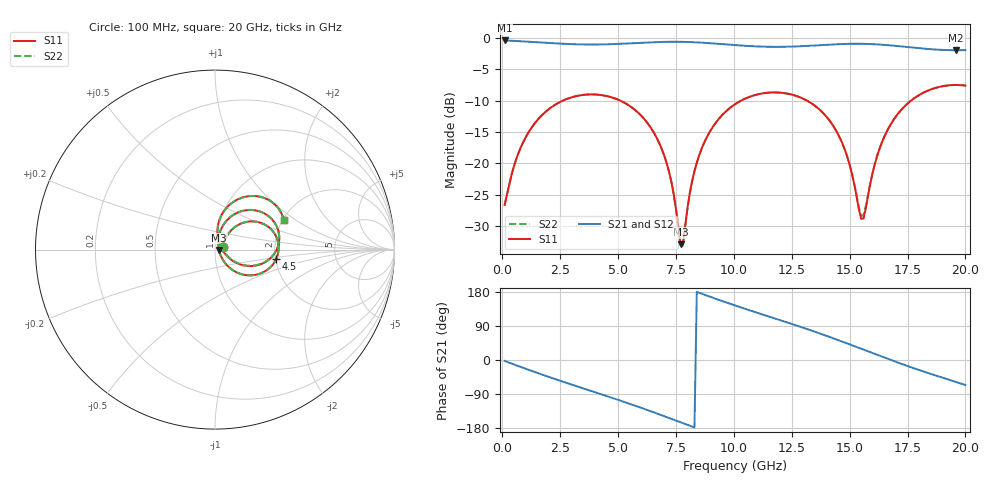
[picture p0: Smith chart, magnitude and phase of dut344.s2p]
! Touchstone file exported from HFSS 2026.1.0
!  File:  C:/ffzhzh/LocalFiles/Ansys_Project_Files/temp_train_TSV_RDL_344_1783035565_53980.aedt
!  Generated:  07:52:20 AM Jul  3, 2026
!  Design:  TSV_RDL
!  Project:  temp_train_TSV_RDL_344_1783035565_53980
! Variables:
!  h_bsmrdl = 4.61um
!  h_ox = 20um
!  h_rdl = 5um
!  h_sub = 77.16um
!  h_tmrdl = 2.42um
!  h_tsv = 77.16um
!  h_via = 3um
!  l_bsmrdl = 902.87um
!  l_sub = 6464.85um
!  l_tmrdl = 814.85um
!  m_sub = 200um
!  pitch = 34.25um
!  r_tsv = 14.99um
!  s_tmrdl = 10um
!  w_bsmrdl = 17.32um
!  w_sub = 500um
!  w_tmrdl = 14.96um
!  x_tsv_center1 = 822.33um
!  x_tsv_center2 = 1742.52um
!  x_tsv_center3 = 2572.33um
!  x_tsv_center4 = 3492.52um
!  x_tsv_center5 = 4322.33um
!  x_tsv_center6 = 5242.52um
# GHz S MA R 50.000000
! Terminal data exported
! Port[1] = TM_RDL1_1_T1
! Port[2] = TM_RDL5_1_T1
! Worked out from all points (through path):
!   200 points, 100 MHz to 20 GHz, reference 50 ohm
!   highest |S21| = -0.38 dB at 100 MHz (marker M1); lowest = -2.0 dB at 19.6 GHz (marker M2)
!   group delay of S21, straight-line fit = 59.3 ps
!   lowest |S11| = -32.9 dB at 7.7 GHz (marker M3), VSWR 1.05, Z = 52.3 - j0.288 ohm
!   |S11| at or under -10 dB: start of sweep to 2.611 GHz; 5.1 GHz to 10.31 GHz (5.209 GHz wide, 67.6 % of centre); 13.16 GHz to 17.65 GHz (4.489 GHz wide, 29.1 % of centre)
!   |S22| runs from -33.2 to -7.5 dB; largest |S21 - S12| = 1.6e-14
!   S11 on the Smith chart (normalised r, x): 100 MHz: 1.09, +0.03; 4.5 GHz: 2.01, -0.24; 20 GHz: 2.01, +0.82
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0.1  0.04644 19.9  0.9569 -2.4  0.9569 -2.4  0.04644 19.9
! Gamma 0 0 0 0
! Port Impedance 50 0 50 0
0.6  0.1075 49.5  0.9472 -14.0  0.9472 -14.0  0.1075 49.5
1.3  0.1966 45.9  0.931 -29.5  0.931 -29.5  0.1966 45.9
3.5  0.3517 9.3  0.8891 -75.0  0.8891 -75.0  0.3517 9.3
4.5  0.3446 -8.8  0.8913 -94.9  0.8913 -94.9  0.3447 -8.9
5.8  0.2602 -33.0  0.9132 -121.9  0.9132 -121.9  0.2603 -33.1
6.8  0.1419 -50.1  0.9305 -143.9  0.9305 -143.9  0.1419 -50.3
7.3  0.07132 -52.2  0.9342 -155.2  0.9342 -155.2  0.07118 -52.7
7.7  0.02253 -7.0  0.9334 -164.4  0.9334 -164.4  0.02177 -7.9
7.8  0.02285 30.3  0.9327 -166.7  0.9327 -166.7  0.022 30.9
8.2  0.07232 73.5  0.9276 -175.8  0.9276 -175.8  0.07194 74.3
8.6  0.1295 72.6  0.9195 175.2  0.9195 175.2  0.1292 73.0
10.1  0.3003 47.2  0.8769 142.9  0.8769 142.9  0.3001 47.5
11.8  0.3681 16.4  0.8508 109.0  0.8508 109.0  0.3679 16.7
13.4  0.2972 -12.3  0.8704 76.7  0.8704 76.7  0.2971 -11.9
14.7  0.142 -31.8  0.8965 48.1  0.8965 48.1  0.1422 -30.9
15.5  0.03596 13.6  0.9002 29.5  0.9002 29.5  0.03801 14.8
16.2  0.1159 83.3  0.8901 13.2  0.8901 13.2  0.1168 82.4
16.7  0.1931 79.6  0.8761 1.7  0.8761 1.7  0.1937 79.1
17.9  0.3414 59.8  0.8331 -24.3  0.8331 -24.3  0.3417 59.6
19.6  0.4219 30.3  0.7988 -58.1  0.7988 -58.1  0.4221 30.2
20  0.4171 23.7  0.8005 -65.9  0.8005 -65.9  0.4172 23.5
